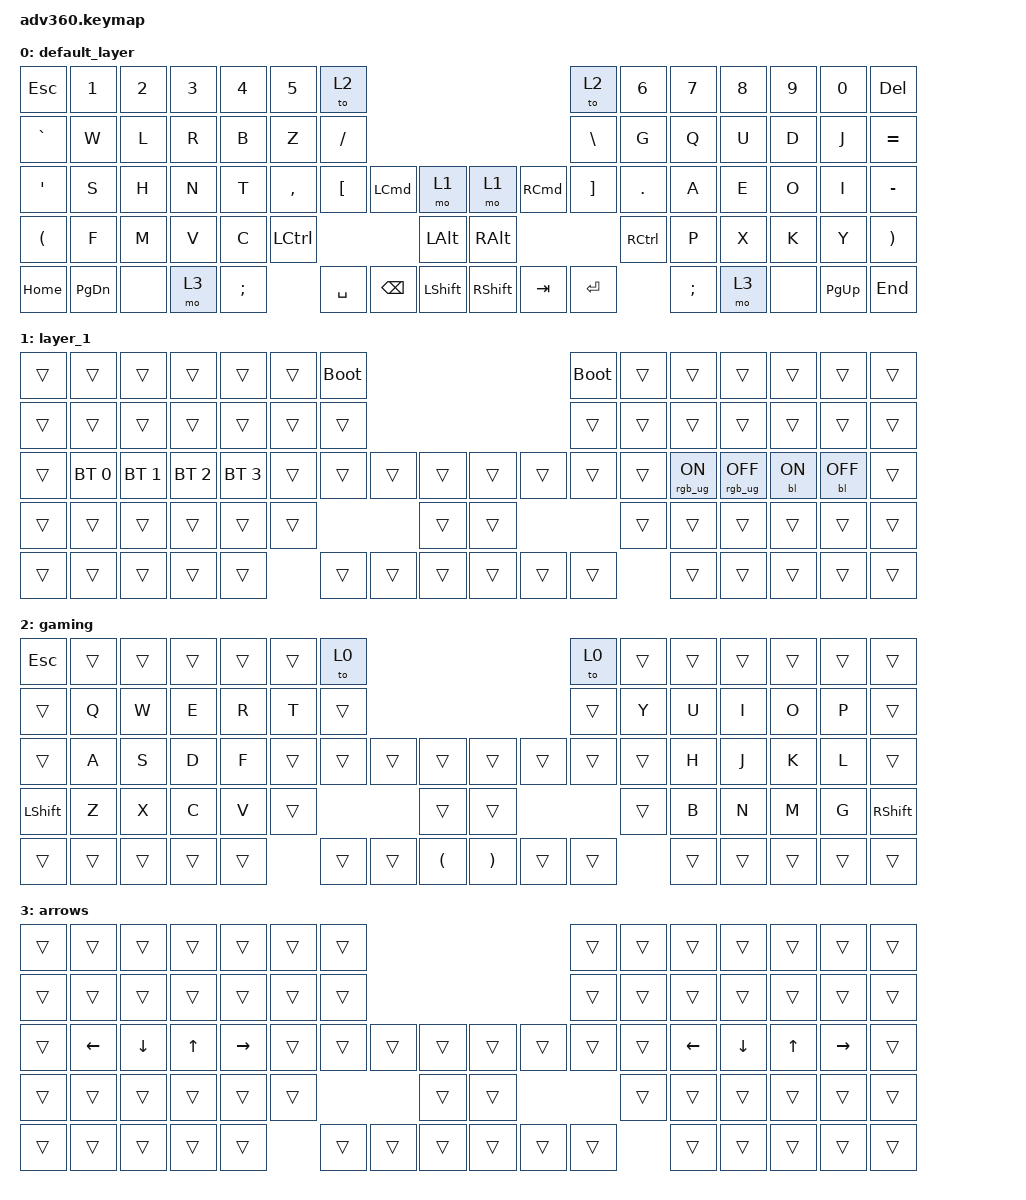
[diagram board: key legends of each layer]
#include <behaviors.dtsi>
#include <dt-bindings/zmk/backlight.h>
#include <dt-bindings/zmk/bt.h>
#include <dt-bindings/zmk/keys.h>
#include <dt-bindings/zmk/rgb.h>

/ {
    behaviors {
        #include "macros.dtsi"
      #include "version.dtsi"
      #ifndef VERSION_MACRO


        #endif
    };

    keymap {
        compatible = "zmk,keymap";

        default_layer {
            bindings = <
&kp ESCAPE            &kp N1         &kp N2  &kp N3  &kp N4         &kp N5     &to 2                                                                                       &to 2              &kp N6      &kp N7         &kp N8  &kp N9  &kp N0     &kp DELETE
&kp GRAVE             &kp W          &kp L   &kp R   &kp B          &kp Z      &kp SLASH                                                                                   &kp BACKSLASH      &kp G       &kp Q          &kp U   &kp D   &kp J      &kp EQUAL
&kp SQT               &kp S          &kp H   &kp N   &kp T          &kp COMMA  &kp LEFT_BRACKET  &kp LEFT_COMMAND  &mo 1               &mo 1            &kp RIGHT_COMMAND  &kp RIGHT_BRACKET  &kp PERIOD  &kp A          &kp E   &kp O   &kp I      &kp MINUS
&kp LEFT_PARENTHESIS  &kp F          &kp M   &kp V   &kp C          &kp LCTRL                                      &kp LEFT_ALT        &kp RIGHT_ALT                                          &kp RCTRL   &kp P          &kp X   &kp K   &kp Y      &kp RIGHT_PARENTHESIS
&kp HOME              &kp PAGE_DOWN  &none   &mo 3   &kp SEMICOLON             &kp SPACE         &kp BACKSPACE     &kp LEFT_SHIFT      &kp RIGHT_SHIFT  &kp TAB            &kp ENTER                      &kp SEMICOLON  &mo 3   &none   &kp PG_UP  &kp END
            >;
        };

        layer_1 {
            bindings = <
&trans  &trans        &trans        &trans        &trans        &trans  &bootloader                                      &bootloader  &trans  &trans          &trans           &trans     &trans      &trans
&trans  &trans        &trans        &trans        &trans        &trans  &trans                                           &trans       &trans  &trans          &trans           &trans     &trans      &trans
&trans  &bt BT_SEL 0  &bt BT_SEL 1  &bt BT_SEL 2  &bt BT_SEL 3  &trans  &trans       &trans  &trans      &trans  &trans  &trans       &trans  &rgb_ug RGB_ON  &rgb_ug RGB_OFF  &bl BL_ON  &bl BL_OFF  &trans
&trans  &trans        &trans        &trans        &trans        &trans                       &trans      &trans                       &trans  &trans          &trans           &trans     &trans      &trans
&trans  &trans        &trans        &trans        &trans                &trans       &trans  &trans      &trans  &trans  &trans               &trans          &trans           &trans     &trans      &trans
            >;
        };

        gaming {
            bindings = <
&kp ESC         &trans  &trans  &trans  &trans  &trans  &to 0                                                                    &to 0   &trans  &trans  &trans  &trans  &trans  &trans
&trans          &kp Q   &kp W   &kp E   &kp R   &kp T   &trans                                                                   &trans  &kp Y   &kp U   &kp I   &kp O   &kp P   &trans
&trans          &kp A   &kp S   &kp D   &kp F   &trans  &trans  &trans  &trans                    &trans                 &trans  &trans  &trans  &kp H   &kp J   &kp K   &kp L   &trans
&kp LEFT_SHIFT  &kp Z   &kp X   &kp C   &kp V   &trans                  &trans                    &trans                                 &trans  &kp B   &kp N   &kp M   &kp G   &kp RIGHT_SHIFT
&trans          &trans  &trans  &trans  &trans          &trans  &trans  &kp LEFT_PARENTHESIS      &kp RIGHT_PARENTHESIS  &trans  &trans          &trans  &trans  &trans  &trans  &trans
            >;
        };

        arrows {
            bindings = <
&trans  &trans          &trans          &trans        &trans           &trans  &trans                                      &trans  &trans  &trans          &trans          &trans        &trans           &trans
&trans  &trans          &trans          &trans        &trans           &trans  &trans                                      &trans  &trans  &trans          &trans          &trans        &trans           &trans
&trans  &kp LEFT_ARROW  &kp DOWN_ARROW  &kp UP_ARROW  &kp RIGHT_ARROW  &trans  &trans  &trans  &trans      &trans  &trans  &trans  &trans  &kp LEFT_ARROW  &kp DOWN_ARROW  &kp UP_ARROW  &kp RIGHT_ARROW  &trans
&trans  &trans          &trans          &trans        &trans           &trans                  &trans      &trans                  &trans  &trans          &trans          &trans        &trans           &trans
&trans  &trans          &trans          &trans        &trans                   &trans  &trans  &trans      &trans  &trans  &trans          &trans          &trans          &trans        &trans           &trans
            >;
        };
    };
};
